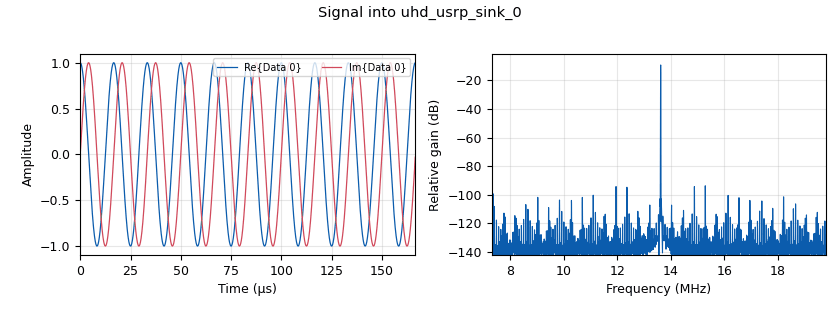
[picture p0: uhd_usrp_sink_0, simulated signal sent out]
options:
  parameters:
    generate_options: qt_gui
    id: CollectData
    output_language: python
    title: Not titled yet
  states: {}

blocks:
- name: card
  id: variable
  parameters:
    value: '52'
  states: {}
- name: center_frequency
  id: variable
  parameters:
    value: 13.56e6
  states: {}
- name: rx_fs
  id: variable
  parameters:
    value: 2e6
  states: {}
- name: tx_fs
  id: variable
  parameters:
    value: 12.5e6
  states: {}
- name: blocks_file_sink_0
  id: blocks_file_sink
  parameters:
    file: C:\Users\akamrath2\Documents\ISO15693_NFC_Research\Data_Collection\GNURadio\Tag_Response\Data\rx_data.dat
    type: complex
  states: {}
- name: epy_block_0
  id: epy_block
  parameters:
    _source_code: |-
      """
      Embedded Python Blocks:

      Each time this file is saved, GRC will instantiate the first class it finds
      to get ports and parameters of your block. The arguments to __init__  will
      be the parameters. All of them are required to have default values!
      """

      import numpy as np
      from gnuradio import gr
      import pmt
      import logging

      logger = logging.getLogger('grc')
      logging.basicConfig(level=logging.DEBUG)

      class blk(gr.basic_block):  # other base classes are basic_block, decim_block, interp_block
          """Embedded Python Block example - a simple multiply const"""

          def __init__(self, tx_fs=12.5e6, ask_percent=1.0, commandCode=0b00000001,flagBits='00100110', maskLength=0b00000000):  # only default arguments here
              """arguments to this function show up as parameters in GRC"""
              gr.sync_block.__init__(
                  self,
                  name='Generate Command Data',   # will show up in GRC
                  in_sig=[],
                  out_sig=[np.complex64]
              )
              self.tx_fs = tx_fs
              self.ask_percent = ask_percent
              self.flagBits = flagBits
              self.commandCode = commandCode
              self.maskLength = maskLength
              self.data_generated = False  # Add this attribute to track if data is generated
              self.command_data = None
              self.command_data_len = 0
              self.current_index = 0

          def work(self, input_items, output_items):
              
              ## Generate Data
              if not self.data_generated:
                  flagBits = int(self.flagBits,2)
                  self.command_data = generateCommandData(self.tx_fs, self.ask_percent, flagBits, self.commandCode, self.maskLength)
                  self.command_data_len = len(self.command_data)
                  self.data_generated = True
              
              num_output_items = len(output_items[0])
              end_index = self.current_index + num_output_items
              
              ## Output data
              if end_index <= self.command_data_len:
                  output_items[0][:] = self.command_data[self.current_index:end_index]
                  self.current_index = end_index
              else:
                  remaining_items = self.command_data_len - self.current_index
                  output_items[0][:remaining_items] = self.command_data[self.current_index:self.command_data_len]
                  output_items[0][remaining_items:] = self.command_data[:num_output_items - remaining_items]
                  self.current_index = num_output_items - remaining_items
              
              return len(output_items[0])


      def generateCommandData(tx_fs, ask_percent, flagBits, commandCode, maskLength):

          rf_reset_length = round((8160e-6)/(1/tx_fs))
          data_bytes = [flagBits, commandCode, maskLength]
          CRC = calculateCRC(data_bytes)

          ## Rearrange Bits for Transmission
          flagBits = bin(flagBits)[2:].zfill(8)
          commandCode = bin(commandCode)[2:].zfill(8)
          maskLength = bin(maskLength)[2:].zfill(8)

          rearranged_flagBits = ''
          for i in range(len(flagBits) - 1, 0, -2):
              bitpair = flagBits[i-1:i+1]
              rearranged_flagBits = rearranged_flagBits + bitpair

          rearranged_commandCode = ''
          for i in range(len(commandCode) - 1, 0, -2):
              bitpair = commandCode[i-1:i+1]
              rearranged_commandCode = rearranged_commandCode + bitpair

          rearranged_maskLength = ''
          for i in range(len(maskLength) - 1, 0, -2):
              bitpair = maskLength[i-1:i+1]
              rearranged_maskLength = rearranged_maskLength + bitpair

          rearranged_CRC = ''
          for i in range(len(CRC) - 1, 0, -2):
              bitpair = CRC[i-1:i+1]
              rearranged_CRC = rearranged_CRC + bitpair
          # logger.debug(rearranged_flagBits)
          # logger.debug(rearranged_commandCode)
          # logger.debug(rearranged_maskLength)
          # logger.debug(rearranged_CRC)
          # rearranged_flagBits = '10011000'
          # rearranged_commandCode = '01000000'
          # rearranged_maskLength = '00000000'
          # rearranged_CRC = '1001111110100000'

          command = rearranged_flagBits + rearranged_commandCode + rearranged_maskLength + rearranged_CRC
          command_data = modulateCommand(command, tx_fs, ask_percent)
          command_data = modulateSOF_EOF(command_data, tx_fs, ask_percent)
          command_data = modulateSlotData(command_data, tx_fs, ask_percent, flagBits)
          
          command_data = np.append(command_data, np.zeros(rf_reset_length,)); #Add RF Reset after command
          
          command_data = addSineWave(command_data, tx_fs, 60000)
          return command_data

      def calculateCRC(data_bytes):
          # Constants
          POLYNOMIAL = 0x8408  # x^16 + x^12 + x^5 + 1
          PRESET_VALUE = 0xFFFF
          NUMBER_OF_BYTES = len(data_bytes)
          
          current_crc_value = PRESET_VALUE
          
          for i in range(NUMBER_OF_BYTES):
              current_crc_value = current_crc_value ^ (data_bytes[i])
              for j in range(8):
                  if (current_crc_value & 0x0001):
                      current_crc_value = (current_crc_value >> 1) ^ POLYNOMIAL
                  else:
                      current_crc_value = current_crc_value >> 1

          inverted_crc_value = ~current_crc_value
          unsigned_integer = inverted_crc_value+(1 << 16) 
          CRC = bin(unsigned_integer)[2:].zfill(16)

          return CRC
              
      def modulateCommand(command, tx_fs, ask_percent):
          
          pair_samples = round((75.52e-6)/(1/tx_fs))
          low_percent = 1 - ask_percent
          low_samples = round((9.44e-06)/(1/tx_fs))
          low_data = np.ones(low_samples) * low_percent
          
          data = []
          for i in range(0, len(command), 2):
              pair = command[i:i+2]
              pair_data = np.ones(pair_samples)
              match pair:
                  case "00":
                      high_samples = round((9.44e-06)/(1/tx_fs))
                      pair_data[high_samples:high_samples+low_samples] = low_data
                  case "01":
                      high_samples = round((28.32e-06)/(1/tx_fs))
                      pair_data[high_samples:high_samples+low_samples] = low_data
                  case "10":
                      high_samples = round((47.2e-06)/(1/tx_fs))
                      pair_data[high_samples:high_samples+low_samples] = low_data
                  case "11":
                      high_samples = round((66.08e-06)/(1/tx_fs))
                      pair_data[high_samples:high_samples+low_samples] = low_data
              data = np.append(data, pair_data)
          return data

      def modulateSOF_EOF(data, tx_fs, ask_percent):
          SOF_length = round((75.52e-06)/(1/tx_fs))
          EOF_length = round(SOF_length/2)
          
          low_percent = 1-ask_percent
          low_samples = round((9.44e-06)/(1/tx_fs))
          low_data = np.ones(low_samples) * low_percent

          SOF = np.ones(SOF_length)
          SOF[:low_samples] = low_data
          high_samples = round((47.2e-06)/(1/tx_fs))
          SOF[high_samples:high_samples+low_samples] = low_data

          EOF = np.ones(EOF_length)
          high_samples = round((18.88e-06)/(1/tx_fs))
          EOF[high_samples:high_samples + low_samples] = low_data

          data = np.append(SOF, data)
          data = np.append(data, EOF)
          return data

      def modulateSlotData(data, tx_fs, ask_percent, flagBits):
          slot_flag = flagBits[2]
          rate_flag = flagBits[6]
          inv_flag = flagBits[5]
          
          low_percent = 1-ask_percent
          low_samples = round((9.44e-06)/(1/tx_fs))
          low_data = np.ones(low_samples) * low_percent

          EOF_length = round((37.76e-06)/(1/tx_fs))
          EOF = np.ones(EOF_length)
          high_samples = round((18.88e-06)/(1/tx_fs))
          EOF[high_samples:high_samples + low_samples] = low_data

          if (rate_flag == '1'):
              slot_length = round(8160e-06/(1/tx_fs))
          else:
              slot_length = round(20332e-06/(1/tx_fs))
          slot = np.ones(slot_length)
          data = np.append(slot, data)
          if (slot_flag == '0' and inv_flag == '1'):
              slot = np.append(slot,EOF)
              for i in range(16):
                  data = np.append(data, slot)
          else:
              data = np.append(data, np.ones(slot_length))
          return data

      def addSineWave(data, tx_fs, sinewave_fs):
          data_length = len(data)
          duration = data_length / tx_fs
          t = np.linspace(0, duration, data_length, endpoint=False, dtype=np.complex64)  # Time array
          # Generate the complex sine wave
          sine_wave = np.exp(2j * np.pi * sinewave_fs * t).astype(np.complex64)
          data = sine_wave * data
          return data
    ask_percent: '1.0'
    commandCode: '0x01'
    flagBits: '''00100110'''
    maskLength: '0'
    tx_fs: 12.5e6
  states: {}
- name: qtgui_sink_x_0
  id: qtgui_sink_x
  parameters:
    bw: rx_fs
    fc: center_frequency
    fftsize: '2048'
    rate: '10000'
    type: complex
  states: {}
- name: qtgui_time_sink_x_0
  id: qtgui_time_sink_x
  parameters:
    autoscale: 'True'
    size: '630596'
    srate: rx_fs
    type: complex
  states: {}
- name: uhd_usrp_sink_0
  id: uhd_usrp_sink
  parameters:
    ant0: '"TX/RX"'
    center_freq0: center_frequency
    gain0: '0'
    samp_rate: tx_fs
    sync: none
    type: fc32
  states: {}
- name: uhd_usrp_source_0
  id: uhd_usrp_source
  parameters:
    ant0: '"RX2"'
    center_freq0: 'center_frequency '
    gain0: '0'
    samp_rate: rx_fs
    sync: none
    type: fc32
  states: {}

connections:
- [epy_block_0, '0', uhd_usrp_sink_0, '0']
- [uhd_usrp_source_0, '0', blocks_file_sink_0, '0']
- [uhd_usrp_source_0, '0', qtgui_sink_x_0, '0']
- [uhd_usrp_source_0, '0', qtgui_time_sink_x_0, '0']

metadata:
  file_format: 1
  grc_version: 3.10.9.2
